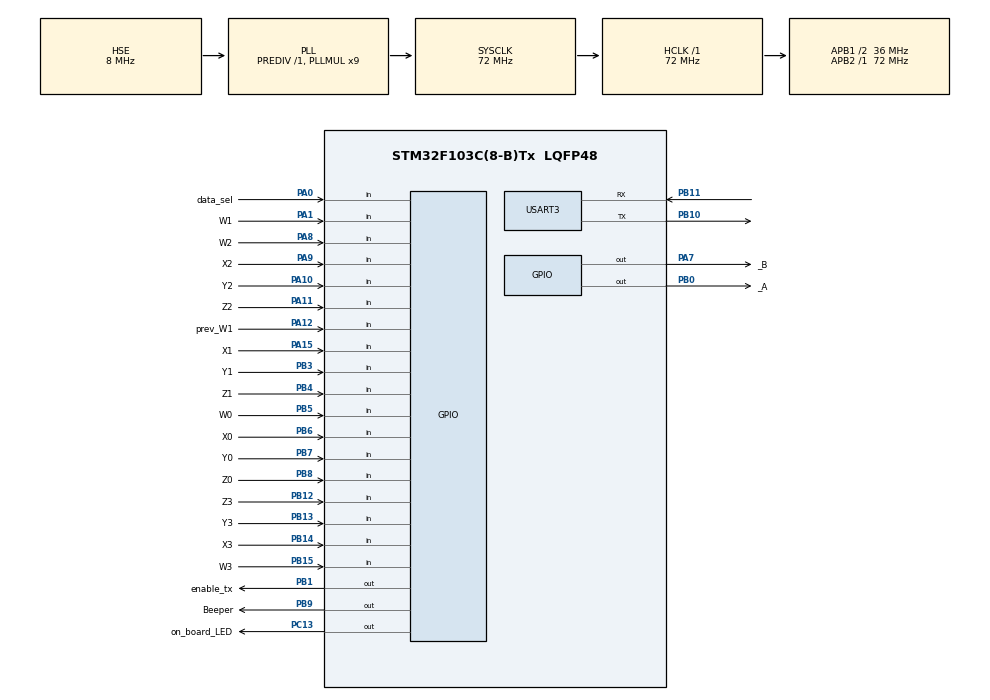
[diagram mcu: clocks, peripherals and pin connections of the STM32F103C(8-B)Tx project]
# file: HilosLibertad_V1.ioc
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Mcu.Family=STM32F1
NVIC.USART3_IRQn=true\:0\:0\:false\:false\:true\:true\:true
PB10.Mode=Asynchronous
PA10.GPIO_PuPd=GPIO_PULLDOWN
PB14.GPIO_Label=X3
PB0.GPIO_Label=_A
PB6.GPIO_Label=X0
PA11.GPIO_PuPd=GPIO_PULLDOWN
PB13.GPIO_Label=Y3
PB11.Signal=USART3_RX
PB13.Signal=GPIO_Input
PB15.Signal=GPIO_Input
RCC.SYSCLKSource=RCC_SYSCLKSOURCE_PLLCLK
ProjectManager.StackSize=0x400
PD1-OSC_OUT.Signal=RCC_OSC_OUT
PA15.GPIO_Label=X1
PA12.Signal=GPIO_Input
RCC.HCLKFreq_Value=72000000
RCC.APB2TimFreq_Value=72000000
PB6.Signal=GPIO_Input
PA1.GPIO_PuPd=GPIO_PULLDOWN
RCC.AHBFreq_Value=72000000
RCC.PLLMUL=RCC_PLL_MUL9
PB12.GPIO_Label=Z3
PB3.GPIO_PuPd=GPIO_PULLDOWN
PA14.Mode=Serial_Wire
PB1.GPIO_Label=enable_tx
NVIC.TIM2_IRQn=true\:0\:0\:false\:false\:true\:true\:true
PA10.GPIO_Label=Y2
PB7.Signal=GPIO_Input
PA8.Signal=GPIO_Input
PB7.GPIO_Label=Y0
Mcu.Package=LQFP48
PB9.Signal=GPIO_Output
TIM2.Prescaler=71
PB14.GPIO_PuPd=GPIO_PULLDOWN
PB1.Signal=GPIO_Output
PB15.GPIO_PuPd=GPIO_PULLDOWN
PA10.Signal=GPIO_Input
PA15.Signal=GPIO_Input
PB5.GPIO_Label=W0
RCC.APB1TimFreq_Value=72000000
PA12.GPIO_PuPd=GPIO_PULLDOWN
PB4.Signal=GPIO_Input
PB3.GPIO_Label=Y1
PB7.GPIO_PuPd=GPIO_PULLDOWN
RCC.PLLSourceVirtual=RCC_PLLSOURCE_HSE
PD1-OSC_OUT.Mode=HSE-External-Oscillator
PB9.GPIO_Label=Beeper
PA9.GPIO_Label=X2
PB6.GPIO_PuPd=GPIO_NOPULL
PB8.GPIO_PuPd=GPIO_PULLDOWN
PC13-TAMPER-RTC.Signal=GPIO_Output
PA11.GPIO_Label=Z2
PD0-OSC_IN.Signal=RCC_OSC_IN
RCC.APB1CLKDivider=RCC_HCLK_DIV2
PA9.GPIO_PuPd=GPIO_PULLDOWN
PA12.GPIO_Label=prev_W1
PA0-WKUP.GPIO_Label=data_sel
PA0-WKUP.Signal=GPIO_Input
PA13.Signal=SYS_JTMS-SWDIO
PB8.GPIO_Label=Z0
PA8.GPIO_Label=W2
PB11.Mode=Asynchronous
ProjectManager.TargetToolchain=STM32CubeIDE
PA9.Signal=GPIO_Input
PB4.GPIO_PuPd=GPIO_PULLDOWN
RCC.USBFreq_Value=72000000
PA1.Signal=GPIO_Input
PD0-OSC_IN.Mode=HSE-External-Oscillator
PB10.Signal=USART3_TX
PB14.Signal=GPIO_Input
board=custom
PC13-TAMPER-RTC.GPIO_Label=on_board_LED
PB13.GPIO_PuPd=GPIO_PULLDOWN
RCC.APB2Freq_Value=72000000
PB4.GPIO_Label=Z1
PB15.GPIO_Label=W3
VP_TIM2_VS_ClockSourceINT.Mode=Internal
PA1.GPIO_Label=W1
TIM2.Period=1
PA13.Mode=Serial_Wire
Mcu.Name=STM32F103C(8-B)Tx
PB3.Signal=GPIO_Input
RCC.SYSCLKFreq_VALUE=72000000
PB5.Signal=GPIO_Input
PA7.GPIO_Label=_B
USART3.VirtualMode=VM_ASYNC
PB5.GPIO_PuPd=GPIO_NOPULL
PB9.PinState=GPIO_PIN_RESET
PA11.Signal=GPIO_Input
PA14.Signal=SYS_JTCK-SWCLK
ProjectManager.HeapSize=0x200
PA8.GPIO_PuPd=GPIO_PULLDOWN
NVIC.PriorityGroup=NVIC_PRIORITYGROUP_4
PA15.GPIO_PuPd=GPIO_PULLDOWN
PB8.Signal=GPIO_Input
PA0-WKUP.GPIO_PuPd=GPIO_PULLUP
PB12.GPIO_PuPd=GPIO_PULLDOWN
RCC.APB1Freq_Value=36000000
PB0.Signal=GPIO_Output
PB12.Signal=GPIO_Input
PA7.Signal=GPIO_Output

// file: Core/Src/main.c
/* USER CODE BEGIN Header */
/**
  ******************************************************************************
  * @file           : main.c
  * @brief          : Main program body
  ******************************************************************************
  * @attention
  *
  * <h2><center>&copy; Copyright (c) 2021 STMicroelectronics.
  * All rights reserved.</center></h2>
  *
  * This software component is licensed by ST under BSD 3-Clause license,
  * the "License"; You may not use this file except in compliance with the
  * License. You may obtain a copy of the License at:
  *                        opensource.org/licenses/BSD-3-Clause
  *
  ******************************************************************************
  */
/* USER CODE END Header */
#include "main.h"

/* USER CODE BEGIN Includes */
#include "alarm.h"
#include "dataSender.h"
#include "debouncer.h"
#include "muxReader.h"
#include "pinConnections.h"
#include "timers.h"
#include "types.h"
/* USER CODE END Includes */

TIM_HandleTypeDef htim2;

UART_HandleTypeDef huart3;

/* USER CODE BEGIN PV */
DS_UartInterruptionFlags uart_flags;
Debouncer_TimerInterruptionFlag TIM_flag;
/* USER CODE END PV */

void SystemClock_Config(void);
static void MX_GPIO_Init(void);
static void MX_USART3_UART_Init(void);
static void MX_TIM2_Init(void);

/* USER CODE BEGIN 0 */
void HAL_UART_TxCpltCallback(UART_HandleTypeDef *huart){
    uart_flags.TxComplete = 1;
}

void HAL_UART_RxCpltCallback(UART_HandleTypeDef *huart){
    uart_flags.RxComplete = 1;
}
void HAL_TIM_PeriodElapsedCallback(TIM_HandleTypeDef *htim){
	TIM_flag.timer_finished = 1;
	HAL_TIM_Base_Stop_IT(htim);
}
/* USER CODE END 0 */

int main(void)
{
  /* USER CODE BEGIN 1 */
	MuxReader reader;
	DataSender sender;

	sample new_sample;
	uint8_t already_sent_flag = 0;
  /* USER CODE END 1 */

  /* MCU Configuration--------------------------------------------------------*/

  /* Reset of all peripherals, Initializes the Flash interface and the Systick. */
  HAL_Init();

  /* Configure the system clock */
  SystemClock_Config();

  /* Initialize all configured peripherals */
  MX_GPIO_Init();
  MX_USART3_UART_Init();
  MX_TIM2_Init();
  /* USER CODE BEGIN 2 */
	initMuxReader( &reader, &htim2 );
	initDataSender( &sender, &huart3 );
	initDS_UartInterruptionFlags( &uart_flags );
	initDebouncer_TimerInterruptionFlag( &TIM_flag );
  /* USER CODE END 2 */

  /* Infinite loop */
	while( 1 ){

    /* USER CODE BEGIN 3 */
		FSM_MuxReader( &reader, &TIM_flag );
		FSM_DataSender( &sender, &uart_flags );

		// Si está listo para ser leído, y no se envió
		int aux_readerIsReady = newSampleReady( &reader );
		if( aux_readerIsReady && already_sent_flag == 0 ){
			// Obtengo la lectura
			new_sample = getSample( &reader );

			// Envío según el modo
			sendSample( &sender, new_sample );
			already_sent_flag = 1;
		}
		// Si no está listo para ser leído
		else if( !aux_readerIsReady ){
			// Renuevo el flag para el próximo envío de lectura
			already_sent_flag = 0;
		}
	}
  /* USER CODE END 3 */
}

void SystemClock_Config(void)
{
  RCC_OscInitTypeDef RCC_OscInitStruct = {0};
  RCC_ClkInitTypeDef RCC_ClkInitStruct = {0};

  /** Initializes the RCC Oscillators according to the specified parameters
  * in the RCC_OscInitTypeDef structure.
  */
  RCC_OscInitStruct.OscillatorType = RCC_OSCILLATORTYPE_HSE;
  RCC_OscInitStruct.HSEState = RCC_HSE_ON;
  RCC_OscInitStruct.HSEPredivValue = RCC_HSE_PREDIV_DIV1;
  RCC_OscInitStruct.HSIState = RCC_HSI_ON;
  RCC_OscInitStruct.PLL.PLLState = RCC_PLL_ON;
  RCC_OscInitStruct.PLL.PLLSource = RCC_PLLSOURCE_HSE;
  RCC_OscInitStruct.PLL.PLLMUL = RCC_PLL_MUL9;
  if (HAL_RCC_OscConfig(&RCC_OscInitStruct) != HAL_OK)
  {
    Error_Handler();
  }
  /** Initializes the CPU, AHB and APB buses clocks
  */
  RCC_ClkInitStruct.ClockType = RCC_CLOCKTYPE_HCLK|RCC_CLOCKTYPE_SYSCLK
                              |RCC_CLOCKTYPE_PCLK1|RCC_CLOCKTYPE_PCLK2;
  RCC_ClkInitStruct.SYSCLKSource = RCC_SYSCLKSOURCE_PLLCLK;
  RCC_ClkInitStruct.AHBCLKDivider = RCC_SYSCLK_DIV1;
  RCC_ClkInitStruct.APB1CLKDivider = RCC_HCLK_DIV2;
  RCC_ClkInitStruct.APB2CLKDivider = RCC_HCLK_DIV1;

  if (HAL_RCC_ClockConfig(&RCC_ClkInitStruct, FLASH_LATENCY_2) != HAL_OK)
  {
    Error_Handler();
  }
}

static void MX_TIM2_Init(void)
{

  TIM_ClockConfigTypeDef sClockSourceConfig = {0};
  TIM_MasterConfigTypeDef sMasterConfig = {0};

  htim2.Instance = TIM2;
  htim2.Init.Prescaler = 71;
  htim2.Init.CounterMode = TIM_COUNTERMODE_UP;
  htim2.Init.Period = 1;
  htim2.Init.ClockDivision = TIM_CLOCKDIVISION_DIV1;
  htim2.Init.AutoReloadPreload = TIM_AUTORELOAD_PRELOAD_DISABLE;
  if (HAL_TIM_Base_Init(&htim2) != HAL_OK)
  {
    Error_Handler();
  }
  sClockSourceConfig.ClockSource = TIM_CLOCKSOURCE_INTERNAL;
  if (HAL_TIM_ConfigClockSource(&htim2, &sClockSourceConfig) != HAL_OK)
  {
    Error_Handler();
  }
  sMasterConfig.MasterOutputTrigger = TIM_TRGO_RESET;
  sMasterConfig.MasterSlaveMode = TIM_MASTERSLAVEMODE_DISABLE;
  if (HAL_TIMEx_MasterConfigSynchronization(&htim2, &sMasterConfig) != HAL_OK)
  {
    Error_Handler();
  }

}

static void MX_USART3_UART_Init(void)
{

  huart3.Instance = USART3;
  huart3.Init.BaudRate = 115200;
  huart3.Init.WordLength = UART_WORDLENGTH_8B;
  huart3.Init.StopBits = UART_STOPBITS_1;
  huart3.Init.Parity = UART_PARITY_NONE;
  huart3.Init.Mode = UART_MODE_TX_RX;
  huart3.Init.HwFlowCtl = UART_HWCONTROL_NONE;
  huart3.Init.OverSampling = UART_OVERSAMPLING_16;
  if (HAL_UART_Init(&huart3) != HAL_OK)
  {
    Error_Handler();
  }

}

static void MX_GPIO_Init(void)
{
  GPIO_InitTypeDef GPIO_InitStruct = {0};

  /* GPIO Ports Clock Enable */
  __HAL_RCC_GPIOC_CLK_ENABLE();
  __HAL_RCC_GPIOD_CLK_ENABLE();
  __HAL_RCC_GPIOA_CLK_ENABLE();
  __HAL_RCC_GPIOB_CLK_ENABLE();

  /*Configure GPIO pin Output Level */
  HAL_GPIO_WritePin(on_board_LED_GPIO_Port, on_board_LED_Pin, GPIO_PIN_RESET);

  /*Configure GPIO pin Output Level */
  HAL_GPIO_WritePin(_B_GPIO_Port, _B_Pin, GPIO_PIN_RESET);

  /*Configure GPIO pin Output Level */
  HAL_GPIO_WritePin(GPIOB, _A_Pin|enable_tx_Pin|Beeper_Pin, GPIO_PIN_RESET);

  /*Configure GPIO pin : on_board_LED_Pin */
  GPIO_InitStruct.Pin = on_board_LED_Pin;
  GPIO_InitStruct.Mode = GPIO_MODE_OUTPUT_PP;
  GPIO_InitStruct.Pull = GPIO_NOPULL;
  GPIO_InitStruct.Speed = GPIO_SPEED_FREQ_LOW;
  HAL_GPIO_Init(on_board_LED_GPIO_Port, &GPIO_InitStruct);

  /*Configure GPIO pin : data_sel_Pin */
  GPIO_InitStruct.Pin = data_sel_Pin;
  GPIO_InitStruct.Mode = GPIO_MODE_INPUT;
  GPIO_InitStruct.Pull = GPIO_PULLUP;
  HAL_GPIO_Init(data_sel_GPIO_Port, &GPIO_InitStruct);

  /*Configure GPIO pins : W1_Pin W2_Pin X2_Pin Y2_Pin
                           Z2_Pin prev_W1_Pin X1_Pin */
  GPIO_InitStruct.Pin = W1_Pin|W2_Pin|X2_Pin|Y2_Pin
                          |Z2_Pin|prev_W1_Pin|X1_Pin;
  GPIO_InitStruct.Mode = GPIO_MODE_INPUT;
  GPIO_InitStruct.Pull = GPIO_PULLDOWN;
  HAL_GPIO_Init(GPIOA, &GPIO_InitStruct);

  /*Configure GPIO pin : _B_Pin */
  GPIO_InitStruct.Pin = _B_Pin;
  GPIO_InitStruct.Mode = GPIO_MODE_OUTPUT_PP;
  GPIO_InitStruct.Pull = GPIO_NOPULL;
  GPIO_InitStruct.Speed = GPIO_SPEED_FREQ_LOW;
  HAL_GPIO_Init(_B_GPIO_Port, &GPIO_InitStruct);

  /*Configure GPIO pins : _A_Pin enable_tx_Pin Beeper_Pin */
  GPIO_InitStruct.Pin = _A_Pin|enable_tx_Pin|Beeper_Pin;
  GPIO_InitStruct.Mode = GPIO_MODE_OUTPUT_PP;
  GPIO_InitStruct.Pull = GPIO_NOPULL;
  GPIO_InitStruct.Speed = GPIO_SPEED_FREQ_LOW;
  HAL_GPIO_Init(GPIOB, &GPIO_InitStruct);

  /*Configure GPIO pins : Z3_Pin Y3_Pin X3_Pin W3_Pin
                           Y1_Pin Z1_Pin Y0_Pin Z0_Pin */
  GPIO_InitStruct.Pin = Z3_Pin|Y3_Pin|X3_Pin|W3_Pin
                          |Y1_Pin|Z1_Pin|Y0_Pin|Z0_Pin;
  GPIO_InitStruct.Mode = GPIO_MODE_INPUT;
  GPIO_InitStruct.Pull = GPIO_PULLDOWN;
  HAL_GPIO_Init(GPIOB, &GPIO_InitStruct);

  /*Configure GPIO pins : W0_Pin X0_Pin */
  GPIO_InitStruct.Pin = W0_Pin|X0_Pin;
  GPIO_InitStruct.Mode = GPIO_MODE_INPUT;
  GPIO_InitStruct.Pull = GPIO_NOPULL;
  HAL_GPIO_Init(GPIOB, &GPIO_InitStruct);

}

void Error_Handler(void)
{
  __disable_irq();
  while (1)
  {
  }
}

/************************ (C) COPYRIGHT STMicroelectronics *****END OF FILE****/
